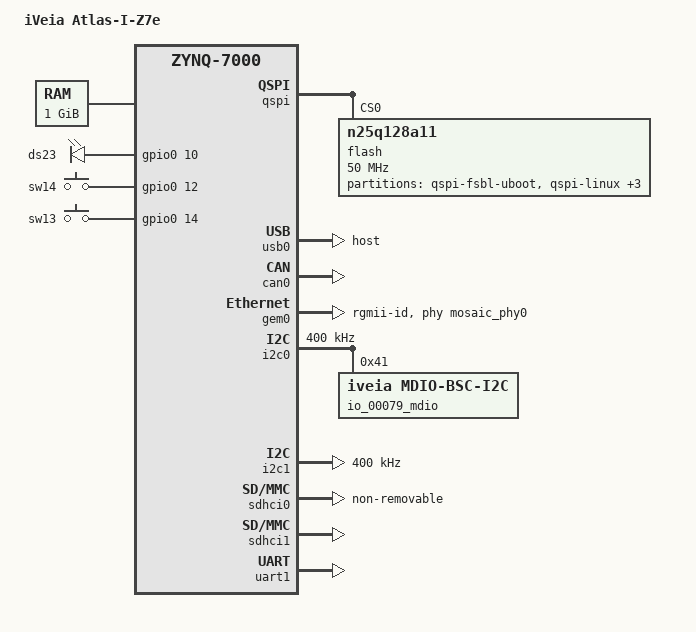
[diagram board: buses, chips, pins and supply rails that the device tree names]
/*
 *  Copyright (C) 2011 - 2014 Xilinx
 *  Copyright (C) 2012 National Instruments Corp.
 *
 * This software is licensed under the terms of the GNU General Public
 * License version 2, as published by the Free Software Foundation, and
 * may be copied, distributed, and modified under those terms.
 *
 * This program is distributed in the hope that it will be useful,
 * but WITHOUT ANY WARRANTY; without even the implied warranty of
 * MERCHANTABILITY or FITNESS FOR A PARTICULAR PURPOSE.  See the
 * GNU General Public License for more details.
 */
/dts-v1/;
/include/ "zynq-7000.dtsi"

/ {
        model = "iVeia Atlas-I-Z7e";
        compatible = "iveia,atlas-i-z7e";

	aliases {
		ethernet0 = &gem0;
		i2c0 = &i2c0;
		i2c1 = &i2c1;
		serial0 = &uart1;
		spi0 = &qspi;
	};

	memory {
		device_type = "memory";
		reg = <0x0 0x40000000>;
	};

	chosen {
		bootargs = "console=ttyPS0,115200 root=/dev/ram rw earlyprintk";
		linux,stdout-path = "/amba/serial@e0001000";
	};

	leds {
		compatible = "gpio-leds";

		ds23 {
			label = "ds23";
			gpios = <&gpio0 10 0>;
			linux,default-trigger = "heartbeat";
		};
	};

	gpio-keys {
		compatible = "gpio-keys";
		#address-cells = <1>;
		#size-cells = <0>;
		autorepeat;
		sw14 {
			label = "sw14";
			gpios = <&gpio0 12 0>;
			linux,code = <108>; /* down */
			gpio-key,wakeup;
			autorepeat;
		};
		sw13 {
			label = "sw13";
			gpios = <&gpio0 14 0>;
			linux,code = <103>; /* up */
			gpio-key,wakeup;
			autorepeat;
		};
	};

	leds {
		compatible = "gpio-leds";

		ds23 {
			label = "ds23";
			gpios = <&gpio0 10 0>;
			linux,default-trigger = "heartbeat";
		};
	};

	xlnk {
		compatible = "xlnx,xlnk-1.0";
		clock-names = "clk166", "clk150", "clk100", "clk200";
		clocks = <&clkc 15>, <&clkc 16>, <&clkc 17>, <&clkc 18>;
	};
};

&qspi {
	status = "okay";
	is-dual = <0>;
	num-cs = <1>;
	flash@0 {
		compatible = "n25q128a11";
		reg = <0x0>;
		spi-tx-bus-width = <1>;
		spi-rx-bus-width = <4>;
		spi-max-frequency = <50000000>;
		#address-cells = <1>;
		#size-cells = <1>;
		partition@qspi-fsbl-uboot {
			label = "qspi-fsbl-uboot";
			reg = <0x0 0x100000>;
		};
		partition@qspi-linux {
			label = "qspi-linux";
			reg = <0x100000 0x500000>;
		};
		partition@qspi-device-tree {
			label = "qspi-device-tree";
			reg = <0x600000 0x20000>;
		};
		partition@qspi-rootfs {
			label = "qspi-rootfs";
			reg = <0x620000 0x5E0000>;
		};
		partition@qspi-bitstream {
			label = "qspi-bitstream";
			reg = <0xC00000 0x400000>;
		};
	};
};

&usb0 {
	status = "okay";
	dr_mode = "host";
	phy_type = "ulpi";
	usb-reset = <&gpio0 7 0>;
};

&can0 {
	status = "okay";
};

&gem0 {
	status = "okay";

    phy-handle = <&mosaic_phy0>;
    phy-mode = "rgmii-id";
    use-internal-mdio = <0>;
};

&i2c0 {
	status = "okay";
	clock-frequency = <400000>;

    io_00079_mdio@40 {  //Mosaic Tri-Mode Ethernet PHY
        compatible = "iveia,mdio-bsc-i2c";
        reg = <0x41>;
	    #address-cells = <1>;
	    #size-cells = <0>;

	    mosaic_phy0: phy@1 {
		    compatible = "ethernet-phy-ieee802.3-c22";
	        device_type = "ethernet-phy";
			reg = <1>;
	    };
    };

};

&i2c1 {
        status = "okay";
        clock-frequency = <400000>;
};

&sdhci0 {
	status = "okay";
	non-removable;
};

&sdhci1 {
        status = "okay";
};

&uart1 {
	status = "okay";
};
